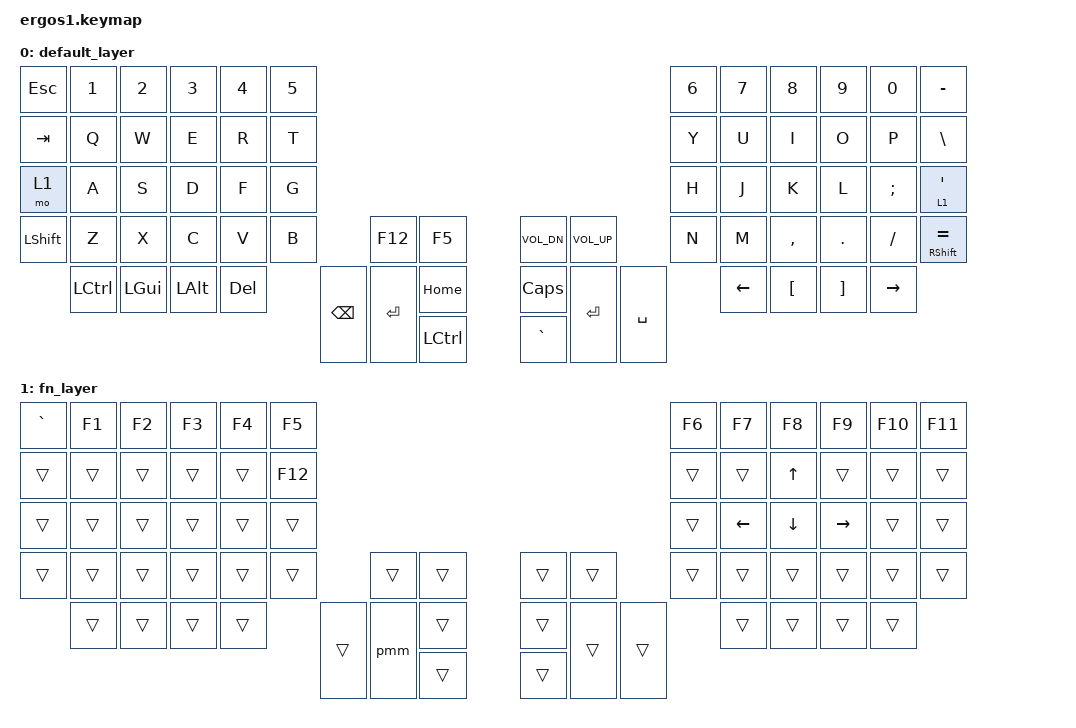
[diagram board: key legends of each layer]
/*
 * Copyright (c) 2020 The ZMK Contributors
 *
 * SPDX-License-Identifier: MIT
 */

#include <behaviors.dtsi>
#include <dt-bindings/zmk/keys.h>

#define DEFAULT 0
#define FN  1

&mt {
    tapping-term-ms = <250>;
    quick-tap-ms = <200>;
    require-prior-idle-ms = <150>;
    flavor = "balanced";
    hold-trigger-on-release;
};

/ {
    macros {
        pmm: pass {
            compatible = "zmk,behavior-macro";
            #binding-cells = <0>;
            bindings = <&kp P &kp H &kp I &kp M &kp M &kp E &kp O &kp M &kp E &kp O &kp DOT &kp C &kp O &kp M>;
            label = "PASS";
            wait-ms = <5>;
            tap-ms = <2>;
        };
    };

    keymap {
        compatible = "zmk,keymap";

        default_layer {
            // ---------------------------------------------------------------------------------------------------------------------------------
            // | ESC  |  1   |  2   |  3   |  4   |  5   |                                                   |  6   |  7   |  8   |  9   |  0   | BSPC |
            // | WIN  |  Q   |  W   |  E   |  R   |  T   |                                                   |  Y   |  U   |  I   |  O   |  P   | EQL  |
            // | TAB  |  A   |  S   |  D   |  F   |  G   |                                                   |  H   |  J   |  K   |  L   | SCLN | QUOT |
            // | LCTL |  Z   |  X   |  C   |  V   |  B   |      | CTL  | ALT  |         | CAPS | CTL  |      |  N   |  M   | COMM | DOT  | SLSH | MINS |
            //        | GRV  | BSLS | LEFT | RGHT |      | SHFT |  FN  | HOME |         | PGUP | ENT  | SPC  |      |  UP  |  DN  | LBKT | RBKT |
            //                                                         | END  |         | PGDN |

            bindings = <
&kp ESC         &kp N1     &kp N2        &kp N3        &kp N4   &kp N5                                                              &kp N6     &kp N7          &kp N8            &kp N9             &kp N0           &kp MINUS
&kp TAB         &kp Q      &kp W         &kp E         &kp R    &kp T                                                               &kp Y      &kp U           &kp I             &kp O              &kp P            &kp BACKSLASH
&mo 1           &kp A      &kp S         &kp D         &kp F    &kp G                                                               &kp H      &kp J           &kp K             &kp L              &kp SEMI         &lt 1 SQT
&kp LEFT_SHIFT  &kp Z      &kp X         &kp C         &kp V    &kp B          &kp F12    &kp F5     &kp C_VOL_DN  &kp C_VOLUME_UP  &kp N      &kp M           &kp COMMA         &kp PERIOD         &kp SLASH        &mt RIGHT_SHIFT EQUAL
                &kp LCTRL  &kp LEFT_GUI  &kp LEFT_ALT  &kp DEL  &kp BACKSPACE  &kp ENTER  &kp HOME   &kp CAPSLOCK  &kp ENTER        &kp SPACE  &kp LEFT_ARROW  &kp LEFT_BRACKET  &kp RIGHT_BRACKET  &kp RIGHT_ARROW
                                                                                          &kp LCTRL  &kp GRAVE
            >;
        };

        fn_layer {
            // ---------------------------------------------------------------------------------------------------------------------------------
            // |BT_CLR|  F1  |  F2  |  F3  |  F4  |  F5  |                                                   |      | NLCK |  =   |  /   |  *   |      |
            // |      |  F6  |  F7  |  F8  |  F9  |  F10 |                                                   |      |  7   |  8   |  9   |  -   |      |
            // |      |      |      |      |      |      |                                                   |      |  4   |  5   |  6   |  +   |      |
            // |      |      |      |      |      | PTSC |      |      |      |         |      |      |      |      |  1   |  2   |  3   | ENT  |      |
            //        |      | INS  |      |      |      |      |  FN  |      |         |      |      |      |      |      |      |  .   | ENT  |
            //                                                         |      |         |      |

            bindings = <
&kp GRAVE  &kp F1  &kp F2  &kp F3  &kp F4  &kp F5                                   &kp F6  &kp F7          &kp F8          &kp F9     &kp F10  &kp F11
&trans     &trans  &trans  &trans  &trans  &kp F12                                  &trans  &trans          &kp UP_ARROW    &trans     &trans   &trans
&trans     &trans  &trans  &trans  &trans  &trans                                   &trans  &kp LEFT_ARROW  &kp DOWN_ARROW  &kp RIGHT  &trans   &trans
&trans     &trans  &trans  &trans  &trans  &trans   &trans  &trans  &trans  &trans  &trans  &trans          &trans          &trans     &trans   &trans
           &trans  &trans  &trans  &trans  &trans   &pmm    &trans  &trans  &trans  &trans  &trans          &trans          &trans     &trans
                                                            &trans  &trans
            >;
        };
    };
};
